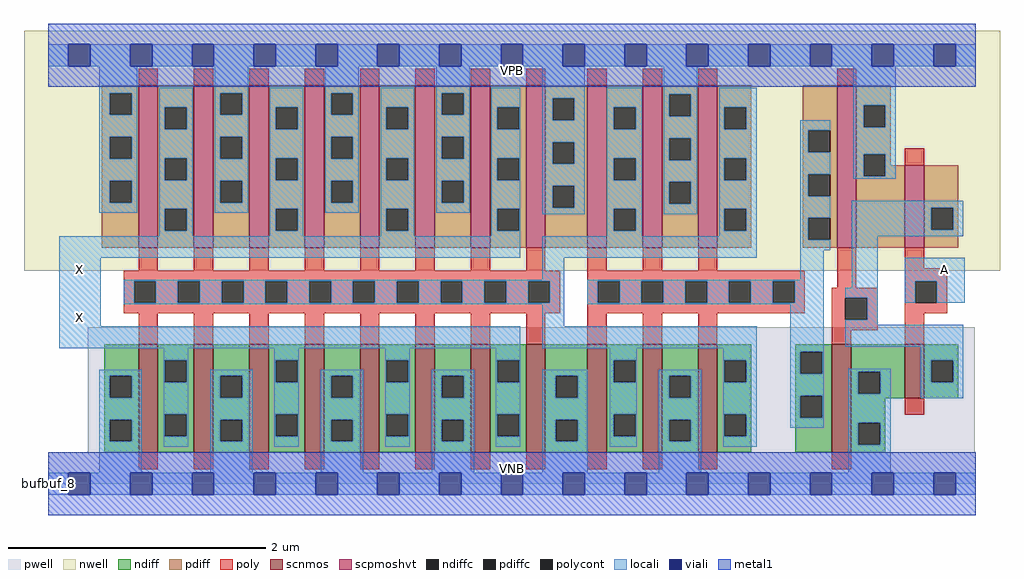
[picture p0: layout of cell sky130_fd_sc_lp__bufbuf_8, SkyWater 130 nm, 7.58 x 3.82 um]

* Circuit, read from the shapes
.subckt sky130_fd_sc_lp__bufbuf_8 A VGND VNB VPB VPWR X
XM1 X n1 VGND VNB sky130_fd_pr__nfet_01v8 w=0.84 l=0.15 m=8
XM2 n1 n2 VGND VNB sky130_fd_pr__nfet_01v8 w=0.84 l=0.15 m=3
XM3 VGND n3 n2 VNB sky130_fd_pr__nfet_01v8 w=0.84 l=0.15
XM4 n3 A VGND VNB sky130_fd_pr__nfet_01v8 w=0.42 l=0.15
XM5 X n1 VPWR VPB sky130_fd_pr__pfet_01v8_hvt w=1.26 l=0.15 m=8
XM6 n1 n2 VPWR VPB sky130_fd_pr__pfet_01v8_hvt w=1.26 l=0.15 m=3
XM7 VPWR n3 n2 VPB sky130_fd_pr__pfet_01v8_hvt w=1.26 l=0.15
XM8 n3 A VPWR VPB sky130_fd_pr__pfet_01v8_hvt w=0.64 l=0.15
.ends

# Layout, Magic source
magic
tech sky130A
magscale 1 2
<< nwell >>
rect -38 331 1478 704
<< pwell >>
rect 61 49 1439 243
rect 0 0 1440 49
<< scnmos >>
rect 140 49 170 217
rect 226 49 256 217
rect 312 49 342 217
rect 398 49 428 217
rect 484 49 514 217
rect 570 49 600 217
rect 656 49 686 217
rect 742 49 772 217
rect 837 49 867 217
rect 923 49 953 217
rect 1009 49 1039 217
rect 1217 49 1247 217
rect 1330 133 1360 217
<< scpmoshvt >>
rect 140 367 170 619
rect 226 367 256 619
rect 312 367 342 619
rect 398 367 428 619
rect 484 367 514 619
rect 570 367 600 619
rect 656 367 686 619
rect 742 367 772 619
rect 837 367 867 619
rect 923 367 953 619
rect 1009 367 1039 619
rect 1225 367 1255 619
rect 1330 367 1360 495
<< ndiff >>
rect 87 168 140 217
rect 87 134 95 168
rect 129 134 140 168
rect 87 100 140 134
rect 87 66 95 100
rect 129 66 140 100
rect 87 49 140 66
rect 170 192 226 217
rect 170 158 181 192
rect 215 158 226 192
rect 170 108 226 158
rect 170 74 181 108
rect 215 74 226 108
rect 170 49 226 74
rect 256 168 312 217
rect 256 134 267 168
rect 301 134 312 168
rect 256 100 312 134
rect 256 66 267 100
rect 301 66 312 100
rect 256 49 312 66
rect 342 192 398 217
rect 342 158 353 192
rect 387 158 398 192
rect 342 108 398 158
rect 342 74 353 108
rect 387 74 398 108
rect 342 49 398 74
rect 428 168 484 217
rect 428 134 439 168
rect 473 134 484 168
rect 428 100 484 134
rect 428 66 439 100
rect 473 66 484 100
rect 428 49 484 66
rect 514 192 570 217
rect 514 158 525 192
rect 559 158 570 192
rect 514 108 570 158
rect 514 74 525 108
rect 559 74 570 108
rect 514 49 570 74
rect 600 168 656 217
rect 600 134 611 168
rect 645 134 656 168
rect 600 100 656 134
rect 600 66 611 100
rect 645 66 656 100
rect 600 49 656 66
rect 686 192 742 217
rect 686 158 697 192
rect 731 158 742 192
rect 686 108 742 158
rect 686 74 697 108
rect 731 74 742 108
rect 686 49 742 74
rect 772 168 837 217
rect 772 134 788 168
rect 822 134 837 168
rect 772 100 837 134
rect 772 66 788 100
rect 822 66 837 100
rect 772 49 837 66
rect 867 192 923 217
rect 867 158 878 192
rect 912 158 923 192
rect 867 108 923 158
rect 867 74 878 108
rect 912 74 923 108
rect 867 49 923 74
rect 953 168 1009 217
rect 953 134 964 168
rect 998 134 1009 168
rect 953 100 1009 134
rect 953 66 964 100
rect 998 66 1009 100
rect 953 49 1009 66
rect 1039 192 1092 217
rect 1039 158 1050 192
rect 1084 158 1092 192
rect 1039 108 1092 158
rect 1039 74 1050 108
rect 1084 74 1092 108
rect 1039 49 1092 74
rect 1160 205 1217 217
rect 1160 171 1168 205
rect 1202 171 1217 205
rect 1160 137 1217 171
rect 1160 103 1168 137
rect 1202 103 1217 137
rect 1160 49 1217 103
rect 1247 174 1330 217
rect 1247 140 1258 174
rect 1292 140 1330 174
rect 1247 133 1330 140
rect 1360 192 1413 217
rect 1360 158 1371 192
rect 1405 158 1413 192
rect 1360 133 1413 158
rect 1247 95 1300 133
rect 1247 61 1258 95
rect 1292 61 1300 95
rect 1247 49 1300 61
<< pdiff >>
rect 83 607 140 619
rect 83 573 95 607
rect 129 573 140 607
rect 83 539 140 573
rect 83 505 95 539
rect 129 505 140 539
rect 83 471 140 505
rect 83 437 95 471
rect 129 437 140 471
rect 83 367 140 437
rect 170 585 226 619
rect 170 551 181 585
rect 215 551 226 585
rect 170 506 226 551
rect 170 472 181 506
rect 215 472 226 506
rect 170 427 226 472
rect 170 393 181 427
rect 215 393 226 427
rect 170 367 226 393
rect 256 607 312 619
rect 256 573 267 607
rect 301 573 312 607
rect 256 539 312 573
rect 256 505 267 539
rect 301 505 312 539
rect 256 471 312 505
rect 256 437 267 471
rect 301 437 312 471
rect 256 367 312 437
rect 342 585 398 619
rect 342 551 353 585
rect 387 551 398 585
rect 342 506 398 551
rect 342 472 353 506
rect 387 472 398 506
rect 342 427 398 472
rect 342 393 353 427
rect 387 393 398 427
rect 342 367 398 393
rect 428 607 484 619
rect 428 573 439 607
rect 473 573 484 607
rect 428 539 484 573
rect 428 505 439 539
rect 473 505 484 539
rect 428 471 484 505
rect 428 437 439 471
rect 473 437 484 471
rect 428 367 484 437
rect 514 585 570 619
rect 514 551 525 585
rect 559 551 570 585
rect 514 506 570 551
rect 514 472 525 506
rect 559 472 570 506
rect 514 427 570 472
rect 514 393 525 427
rect 559 393 570 427
rect 514 367 570 393
rect 600 607 656 619
rect 600 573 611 607
rect 645 573 656 607
rect 600 539 656 573
rect 600 505 611 539
rect 645 505 656 539
rect 600 471 656 505
rect 600 437 611 471
rect 645 437 656 471
rect 600 367 656 437
rect 686 585 742 619
rect 686 551 697 585
rect 731 551 742 585
rect 686 506 742 551
rect 686 472 697 506
rect 731 472 742 506
rect 686 427 742 472
rect 686 393 697 427
rect 731 393 742 427
rect 686 367 742 393
rect 772 599 837 619
rect 772 565 783 599
rect 817 565 837 599
rect 772 531 837 565
rect 772 497 783 531
rect 817 497 837 531
rect 772 463 837 497
rect 772 429 783 463
rect 817 429 837 463
rect 772 367 837 429
rect 867 585 923 619
rect 867 551 878 585
rect 912 551 923 585
rect 867 506 923 551
rect 867 472 878 506
rect 912 472 923 506
rect 867 427 923 472
rect 867 393 878 427
rect 912 393 923 427
rect 867 367 923 393
rect 953 605 1009 619
rect 953 571 964 605
rect 998 571 1009 605
rect 953 537 1009 571
rect 953 503 964 537
rect 998 503 1009 537
rect 953 469 1009 503
rect 953 435 964 469
rect 998 435 1009 469
rect 953 367 1009 435
rect 1039 585 1092 619
rect 1039 551 1050 585
rect 1084 551 1092 585
rect 1039 506 1092 551
rect 1039 472 1050 506
rect 1084 472 1092 506
rect 1039 427 1092 472
rect 1039 393 1050 427
rect 1084 393 1092 427
rect 1039 367 1092 393
rect 1172 549 1225 619
rect 1172 515 1180 549
rect 1214 515 1225 549
rect 1172 481 1225 515
rect 1172 447 1180 481
rect 1214 447 1225 481
rect 1172 413 1225 447
rect 1172 379 1180 413
rect 1214 379 1225 413
rect 1172 367 1225 379
rect 1255 588 1308 619
rect 1255 554 1266 588
rect 1300 554 1308 588
rect 1255 512 1308 554
rect 1255 478 1266 512
rect 1300 495 1308 512
rect 1300 478 1330 495
rect 1255 367 1330 478
rect 1360 429 1413 495
rect 1360 395 1371 429
rect 1405 395 1413 429
rect 1360 367 1413 395
<< ndiffc >>
rect 95 134 129 168
rect 95 66 129 100
rect 181 158 215 192
rect 181 74 215 108
rect 267 134 301 168
rect 267 66 301 100
rect 353 158 387 192
rect 353 74 387 108
rect 439 134 473 168
rect 439 66 473 100
rect 525 158 559 192
rect 525 74 559 108
rect 611 134 645 168
rect 611 66 645 100
rect 697 158 731 192
rect 697 74 731 108
rect 788 134 822 168
rect 788 66 822 100
rect 878 158 912 192
rect 878 74 912 108
rect 964 134 998 168
rect 964 66 998 100
rect 1050 158 1084 192
rect 1050 74 1084 108
rect 1168 171 1202 205
rect 1168 103 1202 137
rect 1258 140 1292 174
rect 1371 158 1405 192
rect 1258 61 1292 95
<< pdiffc >>
rect 95 573 129 607
rect 95 505 129 539
rect 95 437 129 471
rect 181 551 215 585
rect 181 472 215 506
rect 181 393 215 427
rect 267 573 301 607
rect 267 505 301 539
rect 267 437 301 471
rect 353 551 387 585
rect 353 472 387 506
rect 353 393 387 427
rect 439 573 473 607
rect 439 505 473 539
rect 439 437 473 471
rect 525 551 559 585
rect 525 472 559 506
rect 525 393 559 427
rect 611 573 645 607
rect 611 505 645 539
rect 611 437 645 471
rect 697 551 731 585
rect 697 472 731 506
rect 697 393 731 427
rect 783 565 817 599
rect 783 497 817 531
rect 783 429 817 463
rect 878 551 912 585
rect 878 472 912 506
rect 878 393 912 427
rect 964 571 998 605
rect 964 503 998 537
rect 964 435 998 469
rect 1050 551 1084 585
rect 1050 472 1084 506
rect 1050 393 1084 427
rect 1180 515 1214 549
rect 1180 447 1214 481
rect 1180 379 1214 413
rect 1266 554 1300 588
rect 1266 478 1300 512
rect 1371 395 1405 429
<< poly >>
rect 140 619 170 645
rect 226 619 256 645
rect 312 619 342 645
rect 398 619 428 645
rect 484 619 514 645
rect 570 619 600 645
rect 656 619 686 645
rect 742 619 772 645
rect 837 619 867 645
rect 923 619 953 645
rect 1009 619 1039 645
rect 1225 619 1255 645
rect 1330 495 1360 521
rect 140 331 170 367
rect 226 331 256 367
rect 312 331 342 367
rect 398 331 428 367
rect 484 331 514 367
rect 570 331 600 367
rect 656 331 686 367
rect 742 331 772 367
rect 837 331 867 367
rect 923 331 953 367
rect 1009 331 1039 367
rect 117 315 795 331
rect 117 281 133 315
rect 167 281 201 315
rect 235 281 269 315
rect 303 281 337 315
rect 371 281 405 315
rect 439 281 473 315
rect 507 281 541 315
rect 575 281 609 315
rect 643 281 677 315
rect 711 281 745 315
rect 779 281 795 315
rect 117 265 795 281
rect 837 315 1175 331
rect 837 281 853 315
rect 887 281 921 315
rect 955 281 989 315
rect 1023 281 1057 315
rect 1091 281 1125 315
rect 1159 281 1175 315
rect 1225 305 1255 367
rect 1330 335 1360 367
rect 1330 315 1396 335
rect 837 265 1175 281
rect 1217 289 1288 305
rect 140 217 170 265
rect 226 217 256 265
rect 312 217 342 265
rect 398 217 428 265
rect 484 217 514 265
rect 570 217 600 265
rect 656 217 686 265
rect 742 217 772 265
rect 837 217 867 265
rect 923 217 953 265
rect 1009 217 1039 265
rect 1217 255 1238 289
rect 1272 255 1288 289
rect 1217 239 1288 255
rect 1330 281 1346 315
rect 1380 281 1396 315
rect 1330 265 1396 281
rect 1217 217 1247 239
rect 1330 217 1360 265
rect 1330 107 1360 133
rect 140 23 170 49
rect 226 23 256 49
rect 312 23 342 49
rect 398 23 428 49
rect 484 23 514 49
rect 570 23 600 49
rect 656 23 686 49
rect 742 23 772 49
rect 837 23 867 49
rect 923 23 953 49
rect 1009 23 1039 49
rect 1217 23 1247 49
<< polycont >>
rect 133 281 167 315
rect 201 281 235 315
rect 269 281 303 315
rect 337 281 371 315
rect 405 281 439 315
rect 473 281 507 315
rect 541 281 575 315
rect 609 281 643 315
rect 677 281 711 315
rect 745 281 779 315
rect 853 281 887 315
rect 921 281 955 315
rect 989 281 1023 315
rect 1057 281 1091 315
rect 1125 281 1159 315
rect 1238 255 1272 289
rect 1346 281 1380 315
<< locali >>
rect 0 649 31 683
rect 65 649 127 683
rect 161 649 223 683
rect 257 649 319 683
rect 353 649 415 683
rect 449 649 511 683
rect 545 649 607 683
rect 641 649 703 683
rect 737 649 799 683
rect 833 649 895 683
rect 929 649 991 683
rect 1025 649 1087 683
rect 1121 649 1183 683
rect 1217 649 1279 683
rect 1313 649 1375 683
rect 1409 649 1440 683
rect 79 607 138 649
rect 79 573 95 607
rect 129 573 138 607
rect 79 539 138 573
rect 79 505 95 539
rect 129 505 138 539
rect 79 471 138 505
rect 79 437 95 471
rect 129 437 138 471
rect 79 421 138 437
rect 172 585 224 615
rect 172 551 181 585
rect 215 551 224 585
rect 172 506 224 551
rect 172 472 181 506
rect 215 472 224 506
rect 172 427 224 472
rect 172 393 181 427
rect 215 393 224 427
rect 258 607 310 649
rect 258 573 267 607
rect 301 573 310 607
rect 258 539 310 573
rect 258 505 267 539
rect 301 505 310 539
rect 258 471 310 505
rect 258 437 267 471
rect 301 437 310 471
rect 258 421 310 437
rect 344 585 396 615
rect 344 551 353 585
rect 387 551 396 585
rect 344 506 396 551
rect 344 472 353 506
rect 387 472 396 506
rect 344 427 396 472
rect 172 385 224 393
rect 344 393 353 427
rect 387 393 396 427
rect 430 607 482 649
rect 430 573 439 607
rect 473 573 482 607
rect 430 539 482 573
rect 430 505 439 539
rect 473 505 482 539
rect 430 471 482 505
rect 430 437 439 471
rect 473 437 482 471
rect 430 421 482 437
rect 516 585 568 615
rect 516 551 525 585
rect 559 551 568 585
rect 516 506 568 551
rect 516 472 525 506
rect 559 472 568 506
rect 516 427 568 472
rect 344 385 396 393
rect 516 393 525 427
rect 559 393 568 427
rect 602 607 654 649
rect 602 573 611 607
rect 645 573 654 607
rect 602 539 654 573
rect 602 505 611 539
rect 645 505 654 539
rect 602 471 654 505
rect 602 437 611 471
rect 645 437 654 471
rect 602 421 654 437
rect 688 585 733 615
rect 688 551 697 585
rect 731 551 733 585
rect 688 506 733 551
rect 688 472 697 506
rect 731 472 733 506
rect 688 427 733 472
rect 516 385 568 393
rect 688 393 697 427
rect 731 393 733 427
rect 767 599 833 649
rect 767 565 783 599
rect 817 565 833 599
rect 767 531 833 565
rect 767 497 783 531
rect 817 497 833 531
rect 767 463 833 497
rect 767 429 783 463
rect 817 429 833 463
rect 767 419 833 429
rect 867 585 922 615
rect 867 551 878 585
rect 912 551 922 585
rect 867 506 922 551
rect 867 472 878 506
rect 912 472 922 506
rect 867 427 922 472
rect 688 385 733 393
rect 867 393 878 427
rect 912 393 922 427
rect 956 605 1008 649
rect 956 571 964 605
rect 998 571 1008 605
rect 956 537 1008 571
rect 956 503 964 537
rect 998 503 1008 537
rect 956 469 1008 503
rect 956 435 964 469
rect 998 435 1008 469
rect 956 419 1008 435
rect 1042 585 1100 615
rect 1042 551 1050 585
rect 1084 551 1100 585
rect 1250 588 1316 649
rect 1042 506 1100 551
rect 1042 472 1050 506
rect 1084 472 1100 506
rect 1042 427 1100 472
rect 867 385 922 393
rect 1042 393 1050 427
rect 1084 393 1100 427
rect 1042 385 1100 393
rect 17 351 733 385
rect 767 351 1100 385
rect 1168 549 1214 565
rect 1168 515 1180 549
rect 1168 481 1214 515
rect 1168 447 1180 481
rect 1250 554 1266 588
rect 1300 554 1316 588
rect 1250 512 1316 554
rect 1250 478 1266 512
rect 1300 478 1316 512
rect 1250 474 1316 478
rect 1168 413 1214 447
rect 1168 379 1180 413
rect 1168 363 1214 379
rect 1248 429 1421 440
rect 1248 395 1371 429
rect 1405 395 1421 429
rect 1248 385 1421 395
rect 17 245 81 351
rect 767 317 801 351
rect 1168 317 1204 363
rect 117 315 801 317
rect 117 281 133 315
rect 167 281 201 315
rect 235 281 269 315
rect 303 281 337 315
rect 371 281 405 315
rect 439 281 473 315
rect 507 281 541 315
rect 575 281 609 315
rect 643 281 677 315
rect 711 281 745 315
rect 779 281 801 315
rect 117 279 801 281
rect 837 315 1204 317
rect 837 281 853 315
rect 887 281 921 315
rect 955 281 989 315
rect 1023 281 1057 315
rect 1091 281 1125 315
rect 1159 281 1204 315
rect 1248 305 1288 385
rect 837 279 1204 281
rect 767 245 801 279
rect 17 211 733 245
rect 767 211 1100 245
rect 179 192 217 211
rect 79 168 145 177
rect 79 134 95 168
rect 129 134 145 168
rect 79 100 145 134
rect 79 66 95 100
rect 129 66 145 100
rect 79 17 145 66
rect 179 158 181 192
rect 215 158 217 192
rect 351 192 389 211
rect 179 108 217 158
rect 179 74 181 108
rect 215 74 217 108
rect 179 58 217 74
rect 251 168 317 177
rect 251 134 267 168
rect 301 134 317 168
rect 251 100 317 134
rect 251 66 267 100
rect 301 66 317 100
rect 251 17 317 66
rect 351 158 353 192
rect 387 158 389 192
rect 523 192 561 211
rect 351 108 389 158
rect 351 74 353 108
rect 387 74 389 108
rect 351 58 389 74
rect 423 168 489 177
rect 423 134 439 168
rect 473 134 489 168
rect 423 100 489 134
rect 423 66 439 100
rect 473 66 489 100
rect 423 17 489 66
rect 523 158 525 192
rect 559 158 561 192
rect 695 192 733 211
rect 523 108 561 158
rect 523 74 525 108
rect 559 74 561 108
rect 523 58 561 74
rect 595 168 661 177
rect 595 134 611 168
rect 645 134 661 168
rect 595 100 661 134
rect 595 66 611 100
rect 645 66 661 100
rect 595 17 661 66
rect 695 158 697 192
rect 731 158 733 192
rect 872 192 914 211
rect 695 108 733 158
rect 695 74 697 108
rect 731 74 733 108
rect 695 58 733 74
rect 767 168 838 177
rect 767 134 788 168
rect 822 134 838 168
rect 767 100 838 134
rect 767 66 788 100
rect 822 66 838 100
rect 767 17 838 66
rect 872 158 878 192
rect 912 158 914 192
rect 1048 192 1100 211
rect 872 108 914 158
rect 872 74 878 108
rect 912 74 914 108
rect 872 58 914 74
rect 948 168 1014 177
rect 948 134 964 168
rect 998 134 1014 168
rect 948 100 1014 134
rect 948 66 964 100
rect 998 66 1014 100
rect 948 17 1014 66
rect 1048 158 1050 192
rect 1084 158 1100 192
rect 1048 108 1100 158
rect 1048 74 1050 108
rect 1084 74 1100 108
rect 1152 205 1204 279
rect 1238 289 1288 305
rect 1272 255 1288 289
rect 1330 315 1423 351
rect 1330 281 1346 315
rect 1380 281 1423 315
rect 1238 247 1288 255
rect 1238 213 1421 247
rect 1152 171 1168 205
rect 1202 171 1204 205
rect 1355 192 1421 213
rect 1152 137 1204 171
rect 1152 103 1168 137
rect 1202 103 1204 137
rect 1152 87 1204 103
rect 1242 174 1308 179
rect 1242 140 1258 174
rect 1292 140 1308 174
rect 1242 95 1308 140
rect 1355 158 1371 192
rect 1405 158 1421 192
rect 1355 133 1421 158
rect 1048 58 1100 74
rect 1242 61 1258 95
rect 1292 61 1308 95
rect 1242 17 1308 61
rect 0 -17 31 17
rect 65 -17 127 17
rect 161 -17 223 17
rect 257 -17 319 17
rect 353 -17 415 17
rect 449 -17 511 17
rect 545 -17 607 17
rect 641 -17 703 17
rect 737 -17 799 17
rect 833 -17 895 17
rect 929 -17 991 17
rect 1025 -17 1087 17
rect 1121 -17 1183 17
rect 1217 -17 1279 17
rect 1313 -17 1375 17
rect 1409 -17 1440 17
<< viali >>
rect 31 649 65 683
rect 127 649 161 683
rect 223 649 257 683
rect 319 649 353 683
rect 415 649 449 683
rect 511 649 545 683
rect 607 649 641 683
rect 703 649 737 683
rect 799 649 833 683
rect 895 649 929 683
rect 991 649 1025 683
rect 1087 649 1121 683
rect 1183 649 1217 683
rect 1279 649 1313 683
rect 1375 649 1409 683
rect 31 -17 65 17
rect 127 -17 161 17
rect 223 -17 257 17
rect 319 -17 353 17
rect 415 -17 449 17
rect 511 -17 545 17
rect 607 -17 641 17
rect 703 -17 737 17
rect 799 -17 833 17
rect 895 -17 929 17
rect 991 -17 1025 17
rect 1087 -17 1121 17
rect 1183 -17 1217 17
rect 1279 -17 1313 17
rect 1375 -17 1409 17
<< metal1 >>
rect 0 683 1440 715
rect 0 649 31 683
rect 65 649 127 683
rect 161 649 223 683
rect 257 649 319 683
rect 353 649 415 683
rect 449 649 511 683
rect 545 649 607 683
rect 641 649 703 683
rect 737 649 799 683
rect 833 649 895 683
rect 929 649 991 683
rect 1025 649 1087 683
rect 1121 649 1183 683
rect 1217 649 1279 683
rect 1313 649 1375 683
rect 1409 649 1440 683
rect 0 617 1440 649
rect 0 17 1440 49
rect 0 -17 31 17
rect 65 -17 127 17
rect 161 -17 223 17
rect 257 -17 319 17
rect 353 -17 415 17
rect 449 -17 511 17
rect 545 -17 607 17
rect 641 -17 703 17
rect 737 -17 799 17
rect 833 -17 895 17
rect 929 -17 991 17
rect 1025 -17 1087 17
rect 1121 -17 1183 17
rect 1217 -17 1279 17
rect 1313 -17 1375 17
rect 1409 -17 1440 17
rect 0 -49 1440 -17
<< labels >>
flabel pwell s 0 0 1440 49 0 FreeSans 200 0 0 0 VNB
port 3 nsew ground bidirectional
flabel nwell s 0 617 1440 666 0 FreeSans 200 0 0 0 VPB
port 4 nsew power bidirectional
rlabel comment s 0 0 0 0 4 bufbuf_8
flabel metal1 s 0 617 1440 666 0 FreeSans 340 0 0 0 VPWR
port 5 nsew power bidirectional
flabel metal1 s 0 0 1440 49 0 FreeSans 340 0 0 0 VGND
port 2 nsew ground bidirectional
flabel locali s 1375 316 1409 350 0 FreeSans 340 0 0 0 A
port 1 nsew signal input
flabel locali s 31 242 65 276 0 FreeSans 340 0 0 0 X
port 6 nsew signal output
flabel locali s 31 316 65 350 0 FreeSans 340 0 0 0 X
port 6 nsew signal output
<< properties >>
string LEFsite unit
string LEFclass CORE
string FIXED_BBOX 0 0 1440 666
string GDS_FILE $PDKPATH/libs.ref/sky130_fd_sc_lp/gds/sky130_fd_sc_lp.gds
string LEFsymmetry X Y R90
string GDS_END 6817232
string GDS_START 6805032
<< end >>
